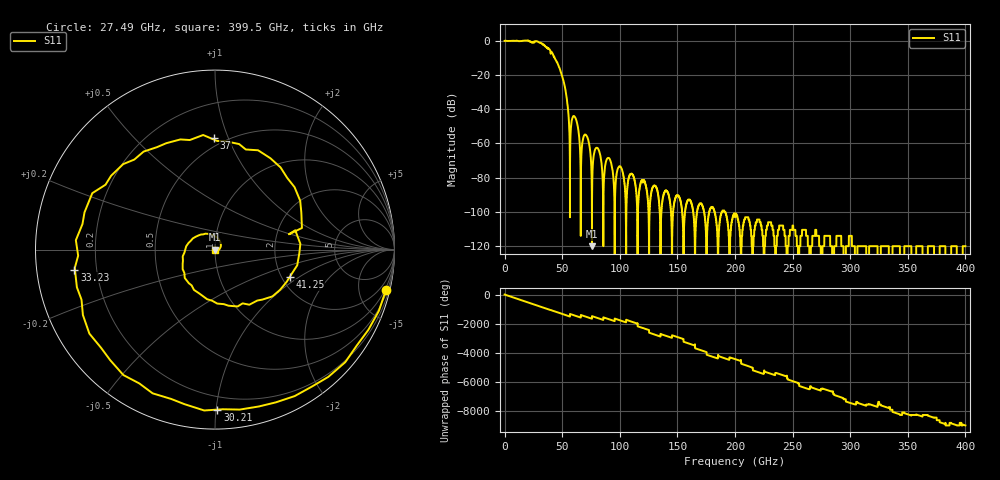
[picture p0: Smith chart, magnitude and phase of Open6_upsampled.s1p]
# MHz MA S R 50.0
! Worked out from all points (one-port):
!   40000 points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, 10 MHz to 400 GHz, reference 50 ohm
!   lowest |S11| = -120.0 dB at 75.84 GHz (marker M1), VSWR 1.00, Z = 50 + j6.84e-05 ohm
!   |S11| at or under -10 dB: 43.38 GHz to end of sweep
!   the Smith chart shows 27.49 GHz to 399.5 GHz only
!   S11 on the Smith chart (normalised r, x): 27.49 GHz: 0.80, -8.59; 30.21 GHz: 0.11, -1.01; 33.23 GHz: 0.12, -0.07; 37 GHz: 0.44, +0.89; 41.25 GHz: 2.21, -0.83; 399.5 GHz: 1.00, +0.00
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10  0.9943 -0.3
3520  0.9972 -93.9
6710  0.9939 -178.8
9910  0.9981 95.1
13030  0.9761 11.4
16720  1.004 -86.3
20100  1.009 -178.1
23750  0.8879 85.1
27490  0.9791 -13.2
30210  0.8926 -89.1
33230  0.791 -171.9
37000  0.6217 90.6
41250  0.4422 -20.0
50010  0.0908 109.1
56700  0.000172 -72.4
61340  0.005701 -15.9
66480  0.000315 26.8
71150  0.001698 -98.0
75840  1e-06 136.9
80210  0.000746 -160.3
100010  0.000217 29.8
150010  3.1e-05 -42.7
200010  7e-06 -117.2
250010  4e-06 168.9
300010  2e-06 103.3
350010  1e-06 40.7
399510  1e-06 12.5
400000  1e-06 0.0
